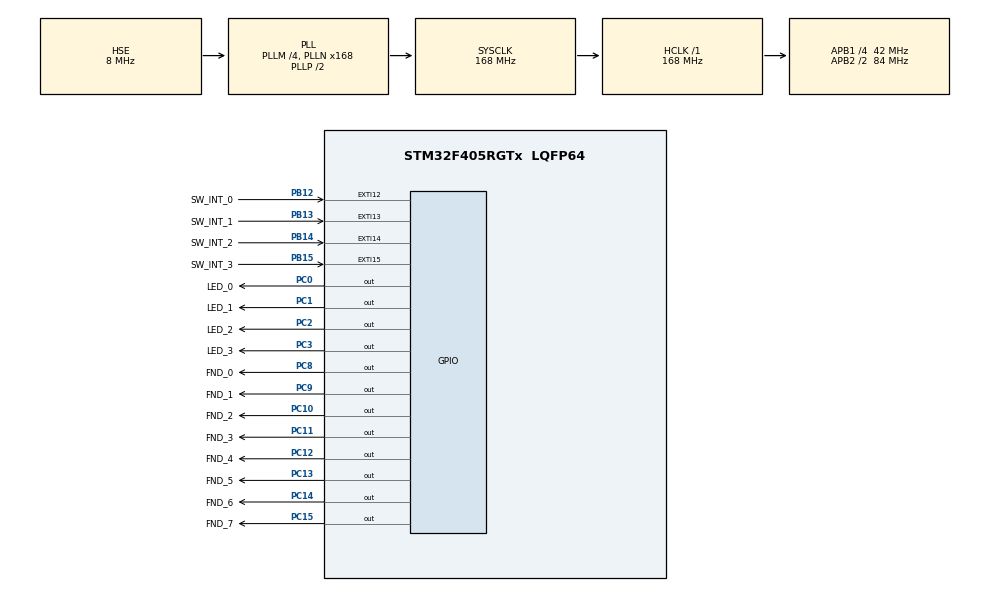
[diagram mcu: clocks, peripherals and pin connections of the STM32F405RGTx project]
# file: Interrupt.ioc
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Mcu.Family=STM32F4
Mcu.Name=STM32F405RGTx
Mcu.Package=LQFP64
NVIC.EXTI15_10_IRQn=true\:0\:0\:false\:false\:true\:true\:true
NVIC.PriorityGroup=NVIC_PRIORITYGROUP_4
PA13.Mode=Serial_Wire
PA13.Signal=SYS_JTMS-SWDIO
PA14.Mode=Serial_Wire
PA14.Signal=SYS_JTCK-SWCLK
PB12.GPIO_Label=SW_INT_0
PB12.Signal=GPXTI12
PB13.GPIO_Label=SW_INT_1
PB13.Signal=GPXTI13
PB14.GPIO_Label=SW_INT_2
PB14.Signal=GPXTI14
PB15.GPIO_Label=SW_INT_3
PB15.Signal=GPXTI15
PC0.GPIO_Label=LED_0
PC0.Signal=GPIO_Output
PC1.GPIO_Label=LED_1
PC1.Signal=GPIO_Output
PC10.GPIO_Label=FND_2
PC10.Signal=GPIO_Output
PC11.GPIO_Label=FND_3
PC11.Signal=GPIO_Output
PC12.GPIO_Label=FND_4
PC12.Signal=GPIO_Output
PC13-ANTI_TAMP.GPIO_Label=FND_5
PC13-ANTI_TAMP.Signal=GPIO_Output
PC14-OSC32_IN.GPIO_Label=FND_6
PC14-OSC32_IN.Signal=GPIO_Output
PC15-OSC32_OUT.GPIO_Label=FND_7
PC15-OSC32_OUT.Signal=GPIO_Output
PC2.GPIO_Label=LED_2
PC2.Signal=GPIO_Output
PC3.GPIO_Label=LED_3
PC3.Signal=GPIO_Output
PC8.GPIO_Label=FND_0
PC8.Signal=GPIO_Output
PC9.GPIO_Label=FND_1
PC9.Signal=GPIO_Output
PH0-OSC_IN.Mode=HSE-External-Oscillator
PH0-OSC_IN.Signal=RCC_OSC_IN
PH1-OSC_OUT.Mode=HSE-External-Oscillator
PH1-OSC_OUT.Signal=RCC_OSC_OUT
ProjectManager.HeapSize=0x200
ProjectManager.StackSize=0x400
ProjectManager.TargetToolchain=EWARM V8.32
RCC.48MHZClocksFreq_Value=84000000
RCC.AHBFreq_Value=168000000
RCC.APB1CLKDivider=RCC_HCLK_DIV4
RCC.APB1Freq_Value=42000000
RCC.APB1TimFreq_Value=84000000
RCC.APB2CLKDivider=RCC_HCLK_DIV2
RCC.APB2Freq_Value=84000000
RCC.APB2TimFreq_Value=168000000
RCC.CortexFreq_Value=168000000
RCC.HCLKFreq_Value=168000000
RCC.HSE_VALUE=8000000
RCC.HSI_VALUE=16000000
RCC.LSE_VALUE=32768
RCC.PLLM=4
RCC.PLLN=168
RCC.PLLSourceVirtual=RCC_PLLSOURCE_HSE
RCC.SYSCLKFreq_VALUE=168000000
RCC.SYSCLKSource=RCC_SYSCLKSOURCE_PLLCLK
RCC.VCOOutputFreq_Value=336000000
board=custom

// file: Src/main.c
/* USER CODE BEGIN Header */
/**
  ******************************************************************************
  * @file           : main.c
  * @brief          : Main program body
  ******************************************************************************
  * @attention
  *
  * <h2><center>&copy; Copyright (c) 2020 STMicroelectronics.
  * All rights reserved.</center></h2>
  *
  * This software component is licensed by ST under BSD 3-Clause license,
  * the "License"; You may not use this file except in compliance with the
  * License. You may obtain a copy of the License at:
  *                        opensource.org/licenses/BSD-3-Clause
  *
  ******************************************************************************
  */
/* USER CODE END Header */

#include "main.h"
#include "gpio.h"

/* USER CODE BEGIN Includes */
#include <stdbool.h>
/* USER CODE END Includes */

/* USER CODE BEGIN PV */
volatile bool enableLed = true;
volatile bool enableFnd = true;
volatile uint16_t led = LED_0_Pin;
volatile uint16_t fndIndex = 0;
const uint16_t LedPins = LED_0_Pin | LED_1_Pin | LED_2_Pin | LED_3_Pin;
const uint16_t FndChars[] = {0x3F00, 0x0600, 0x5B00, 0x4F00, 0x6600, 0x6D00,
                             0x7C00, 0x0700, 0x7F00, 0x6700, 0x7700, 0x7C00,
                             0x3900, 0x5E00, 0x7900, 0x7100, 0x0800, 0x8000};
const uint16_t FndPins = FND_0_Pin | FND_1_Pin | FND_2_Pin | FND_3_Pin |
                         FND_4_Pin | FND_5_Pin | FND_6_Pin | FND_7_Pin;
/* USER CODE END PV */

void SystemClock_Config(void);
/* USER CODE BEGIN PFP */
void HAL_GPIO_EXTI_Callback(uint16_t GPIO_Pin);
/* USER CODE END PFP */

int main(void)
{

  /* MCU Configuration--------------------------------------------------------*/

  /* Reset of all peripherals, Initializes the Flash interface and the Systick. */
  HAL_Init();

  /* Configure the system clock */
  SystemClock_Config();

  /* Initialize all configured peripherals */
  MX_GPIO_Init();

  /* Infinite loop */
  /* USER CODE BEGIN WHILE */
  while (1)
  {
      if(enableLed == true)
      {
          HAL_GPIO_WritePin(GPIOC, LedPins & led, GPIO_PIN_SET);
          HAL_GPIO_WritePin(GPIOC, LedPins & ~led, GPIO_PIN_RESET);
          led <<= 1;
          if(led > LED_3_Pin)
          {
              led  = LED_0_Pin;
          }
      }

      if(enableFnd == true)
      {
          HAL_GPIO_WritePin(GPIOC, FndPins & FndChars[fndIndex], GPIO_PIN_SET);
          HAL_GPIO_WritePin(GPIOC, FndPins & ~FndChars[fndIndex], GPIO_PIN_RESET);
          fndIndex++;
          if(fndIndex > 15)
          {
              fndIndex = 0;
          }
      }
      HAL_Delay(100);
    /* USER CODE END WHILE */

  }
}

void SystemClock_Config(void)
{
  RCC_OscInitTypeDef RCC_OscInitStruct = {0};
  RCC_ClkInitTypeDef RCC_ClkInitStruct = {0};

  /** Configure the main internal regulator output voltage
  */
  __HAL_RCC_PWR_CLK_ENABLE();
  __HAL_PWR_VOLTAGESCALING_CONFIG(PWR_REGULATOR_VOLTAGE_SCALE1);
  /** Initializes the CPU, AHB and APB busses clocks
  */
  RCC_OscInitStruct.OscillatorType = RCC_OSCILLATORTYPE_HSE;
  RCC_OscInitStruct.HSEState = RCC_HSE_ON;
  RCC_OscInitStruct.PLL.PLLState = RCC_PLL_ON;
  RCC_OscInitStruct.PLL.PLLSource = RCC_PLLSOURCE_HSE;
  RCC_OscInitStruct.PLL.PLLM = 4;
  RCC_OscInitStruct.PLL.PLLN = 168;
  RCC_OscInitStruct.PLL.PLLP = RCC_PLLP_DIV2;
  RCC_OscInitStruct.PLL.PLLQ = 4;
  if (HAL_RCC_OscConfig(&RCC_OscInitStruct) != HAL_OK)
  {
    Error_Handler();
  }
  /** Initializes the CPU, AHB and APB busses clocks
  */
  RCC_ClkInitStruct.ClockType = RCC_CLOCKTYPE_HCLK|RCC_CLOCKTYPE_SYSCLK
                              |RCC_CLOCKTYPE_PCLK1|RCC_CLOCKTYPE_PCLK2;
  RCC_ClkInitStruct.SYSCLKSource = RCC_SYSCLKSOURCE_PLLCLK;
  RCC_ClkInitStruct.AHBCLKDivider = RCC_SYSCLK_DIV1;
  RCC_ClkInitStruct.APB1CLKDivider = RCC_HCLK_DIV4;
  RCC_ClkInitStruct.APB2CLKDivider = RCC_HCLK_DIV2;

  if (HAL_RCC_ClockConfig(&RCC_ClkInitStruct, FLASH_LATENCY_5) != HAL_OK)
  {
    Error_Handler();
  }
}

/* USER CODE BEGIN 4 */
void HAL_GPIO_EXTI_Callback(uint16_t GPIO_Pin)
{
    if(GPIO_Pin == SW_INT_0_Pin)
    {
        enableLed = !enableLed;
    }
    else if(GPIO_Pin == SW_INT_1_Pin)
    {
        led = LED_0_Pin;
        HAL_GPIO_WritePin(GPIOC, LedPins & led, GPIO_PIN_SET);
        HAL_GPIO_WritePin(GPIOC, LedPins & ~led, GPIO_PIN_RESET);
    }
    else if(GPIO_Pin == SW_INT_2_Pin)
    {
        enableFnd = !enableFnd;
    }
    else if(GPIO_Pin == SW_INT_3_Pin)
    {
        fndIndex = 0;
        HAL_GPIO_WritePin(GPIOC, FndPins & FndChars[fndIndex], GPIO_PIN_SET);
        HAL_GPIO_WritePin(GPIOC, FndPins & ~FndChars[fndIndex], GPIO_PIN_RESET);
    }
}
/* USER CODE END 4 */

void Error_Handler(void)
{
}

/************************ (C) COPYRIGHT STMicroelectronics *****END OF FILE****/
